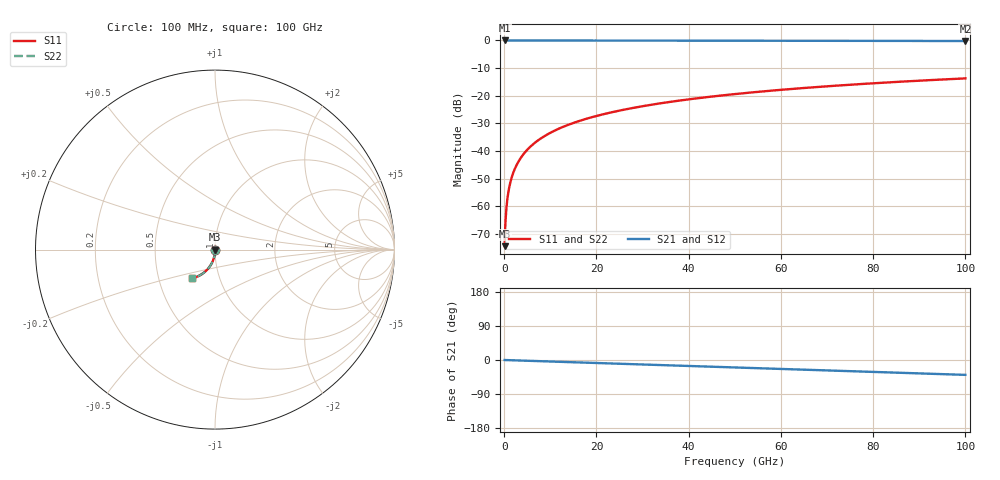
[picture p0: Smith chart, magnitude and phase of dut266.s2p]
! Touchstone file exported from HFSS 2026.1.0
!  File:  C:/ffzhzh/LocalFiles/Ansys_Project_Files/temp_train_TSV_266_1783508570_9504.aedt
!  Generated:  07:04:01 PM Jul  8, 2026
!  Design:  TSV
!  Project:  temp_train_TSV_266_1783508570_9504
! Variables:
!  h_bsmrdl = 2um
!  h_ox = 20um
!  h_rdl = 5um
!  h_sub = 77.44um
!  h_tmrdl = 5um
!  h_tsv = 77.44um
!  h_via = 3um
!  l_bsmrdl = 300um
!  l_sub = 427.74um
!  l_tmrdl = 200um
!  m_sub = 200um
!  pitch = 41.96um
!  r_tsv = 13.87um
!  s_tmrdl = 10um
!  w_bsmrdl = 18um
!  w_sub = 500um
!  w_tmrdl = 12um
!  x_tsv_center1 = 206um
!  x_tsv_center2 = 524um
!  x_tsv_center3 = 736um
!  x_tsv_center4 = 1054um
!  x_tsv_center5 = 1266um
!  x_tsv_center6 = 1584um
# GHz S MA R 50.000000
! Terminal data exported
! Port[1] = TSV1_1_T1
! Port[2] = TSV1_1_T2
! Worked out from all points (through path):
!   1000 points, 100 MHz to 100 GHz, reference 50 ohm
!   highest |S21| = 0.00 dB at 100 MHz (marker M1); lowest = -0.2 dB at 100 GHz (marker M2)
!   group delay of S21, straight-line fit = 1.09 ps
!   lowest |S11| = -74.4 dB at 100 MHz (marker M3), VSWR 1.00, Z = 50 - j0.0172 ohm
!   |S11| at or under -10 dB: start of sweep to end of sweep
!   |S22| runs from -74.4 to -13.7 dB; largest |S21 - S12| = 2.8e-15
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0.1  0.0001903 -64.6  0.9999 -0.0  0.9999 -0.0  0.0001903 -64.6
! Gamma 0 0 0 0
! Port Impedance 50 0 50 0
0.3  0.0005489 -77.5  0.9999 -0.1  0.9999 -0.1  0.0005489 -77.5
0.7  0.001358 -81.7  0.9998 -0.3  0.9998 -0.3  0.001358 -81.7
0.8  0.001566 -82.3  0.9998 -0.3  0.9998 -0.3  0.001566 -82.3
1  0.001986 -83.4  0.9998 -0.4  0.9998 -0.4  0.001986 -83.4
1.3  0.002616 -84.5  0.9997 -0.5  0.9997 -0.5  0.002616 -84.5
1.7  0.00346 -85.5  0.9997 -0.7  0.9997 -0.7  0.00346 -85.5
2.3  0.00473 -86.6  0.9996 -0.9  0.9996 -0.9  0.00473 -86.6
2.9  0.006009 -87.3  0.9996 -1.2  0.9996 -1.2  0.006009 -87.3
3.7  0.007723 -88.1  0.9995 -1.5  0.9995 -1.5  0.007723 -88.1
4.7  0.009876 -88.8  0.9994 -1.9  0.9994 -1.9  0.009876 -88.8
5.8  0.01225 -89.6  0.9993 -2.3  0.9993 -2.3  0.01225 -89.6
8.6  0.01831 -91.2  0.9991 -3.4  0.9991 -3.4  0.01831 -91.2
12.2  0.02612 -93.0  0.9988 -4.9  0.9988 -4.9  0.02612 -93.0
16.8  0.0361 -95.1  0.9983 -6.7  0.9983 -6.7  0.0361 -95.1
24.2  0.05213 -98.3  0.9974 -9.6  0.9974 -9.6  0.05213 -98.3
33.4  0.07194 -102.1  0.996 -13.2  0.996 -13.2  0.07194 -102.1
41.2  0.08859 -105.3  0.9944 -16.3  0.9944 -16.3  0.08859 -105.3
50.1  0.1074 -108.9  0.9924 -19.8  0.9924 -19.8  0.1074 -108.9
66.7  0.1415 -115.5  0.9878 -26.3  0.9878 -26.3  0.1415 -115.5
83.4  0.1746 -122.1  0.9821 -32.8  0.9821 -32.8  0.1746 -122.1
100  0.206 -128.7  0.9755 -39.2  0.9755 -39.2  0.206 -128.6
